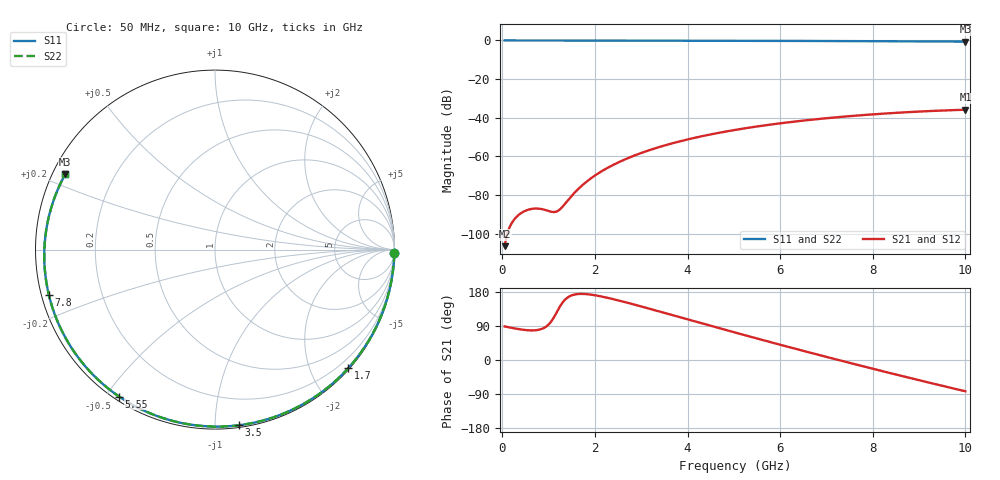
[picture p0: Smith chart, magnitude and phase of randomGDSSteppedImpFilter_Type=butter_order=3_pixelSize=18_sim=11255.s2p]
! freq	dB(S11)	phase(S11)	dB(S12)	phase(S12)
!  dB(S21)	phase(S21)	dB(S22)	phase(S22)
!S-par simulation data
#  GHz  S  DB  R 50
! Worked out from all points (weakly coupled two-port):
!   200 points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, 50 MHz to 10 GHz, reference 50 ohm
!   highest |S21| = -35.86 dB at 10 GHz (marker M1); lowest = -106.5 dB at 50 MHz (marker M2)
!   lowest |S11| = -0.6 dB at 10 GHz (marker M3), VSWR 29.41, Z = 1.8 + j11.9 ohm
!   |S11| at or under -10 dB: nowhere
!   |S22| runs from -0.6 to 0.0 dB; largest |S21 - S12| = 0
!   S11 on the Smith chart (normalised r, x): 50 MHz: 1, -94; 1.7 GHz: 0.02, -2.63; 3.5 GHz: 0.01, -1.15; 5.55 GHz: 0.01, -0.54; 7.8 GHz: 0.02, -0.13; 10 GHz: 0.04, +0.24
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0.05  -0.00 -1.2  -106.48 88.7  -106.48 88.7  -0.00 -1.2
0.4  -0.02 -9.9  -89.45 80.6  -89.45 80.6  -0.02 -9.9
0.75  -0.02 -18.6  -87.00 78.9  -87.00 78.9  -0.02 -18.6
1.1  -0.03 -27.2  -88.82 109.6  -88.82 109.6  -0.03 -27.2
1.5  -0.05 -36.9  -80.39 170.6  -80.39 170.6  -0.05 -36.9
1.7  -0.05 -41.6  -75.53 174.5  -75.53 174.5  -0.05 -41.6
1.75  -0.05 -42.8  -74.48 174.4  -74.48 174.4  -0.05 -42.8
2.05  -0.06 -49.8  -69.13 169.8  -69.13 169.8  -0.06 -49.8
2.45  -0.08 -59.0  -63.76 159.0  -63.76 159.0  -0.08 -59.0
2.9  -0.09 -69.1  -59.13 144.6  -59.13 144.6  -0.09 -69.1
3.4  -0.10 -80.0  -55.09 127.8  -55.09 127.8  -0.10 -80.0
3.5  -0.11 -82.1  -54.38 124.4  -54.38 124.4  -0.11 -82.1
4.25  -0.13 -97.7  -49.88 98.8  -49.88 98.8  -0.13 -97.7
5.05  -0.17 -113.6  -46.22 71.7  -46.22 71.7  -0.17 -113.6
5.55  -0.20 -123.2  -44.35 55.1  -44.35 55.1  -0.20 -123.2
6.15  -0.23 -134.4  -42.45 35.4  -42.45 35.4  -0.23 -134.4
6.7  -0.27 -144.6  -40.97 17.7  -40.97 17.7  -0.27 -144.6
7.25  -0.31 -154.6  -39.70 0.3  -39.70 0.3  -0.31 -154.7
7.8  -0.36 -164.7  -38.61 -16.9  -38.61 -16.9  -0.36 -164.7
8.35  -0.41 -174.9  -37.69 -33.8  -37.69 -33.8  -0.41 -174.9
9.2  -0.50 169.1  -36.58 -59.3  -36.58 -59.3  -0.50 169.0
10  -0.59 153.3  -35.86 -82.5  -35.86 -82.5  -0.59 153.3
